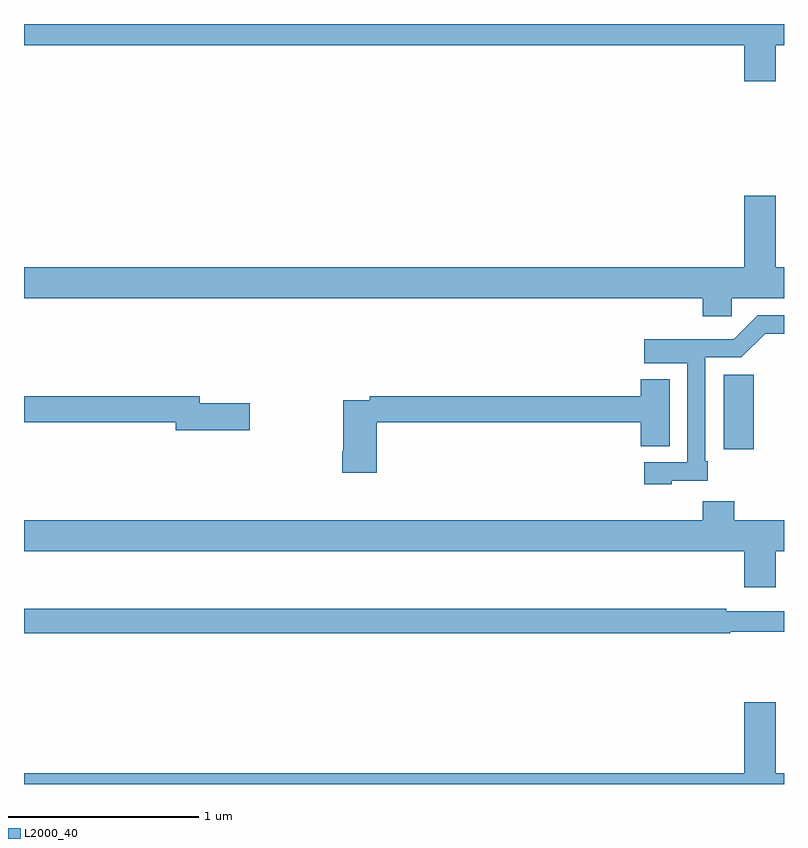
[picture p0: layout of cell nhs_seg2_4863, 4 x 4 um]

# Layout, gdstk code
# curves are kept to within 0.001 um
import gdstk
lib = gdstk.Library(unit=1e-6, precision=1e-09)
def R(c, l, rs):  # rectangles x0, y0, x1, y1
    for r in rs: c.add(gdstk.rectangle(r[:2], r[2:], *l))
def P(c, l, *ps):  # polygons
    for p in ps: c.add(gdstk.Polygon(p, *l))
L2000_40 = (2000, 40)

nhs_seg2_4863 = lib.new_cell('nhs_seg2_4863')
R(nhs_seg2_4863, L2000_40, [(380.684,593.562,380.842,593.953)])
P(nhs_seg2_4863, L2000_40, [(380.956,595.688),(381,595.688),(381,595.8),(377,595.8),(377,595.688),(380.792,595.688),(380.792,595.5),(380.956,595.5)],
  [(380.724,594.356),(381,594.356),(381,594.52),(380.956,594.52),(380.956,594.895),(380.792,594.895),(380.792,594.52),(377,594.52),(377,594.356),(380.573,594.356),(380.573,594.263),(380.724,594.263)],
  [(380.409,593.397),(380.599,593.397),(380.599,593.5),(380.586,593.5),(380.586,594.045),(380.775,594.045),(380.9,594.17),(381,594.17),(381,594.267),(380.861,594.267),(380.735,594.141),(380.265,594.142),(380.265,594.014),(380.49,594.014),(380.49,593.493),(380.265,593.493),(380.265,593.378),(380.409,593.378)],
  [(378.857,593.704),(380.246,593.704),(380.246,593.578),(380.398,593.578),(380.398,593.929),(380.246,593.929),(380.246,593.84),(378.82,593.84),(378.82,593.82),(378.679,593.82),(378.679,593.551),(378.674,593.551),(378.674,593.439),(378.857,593.439)],
  [(378.187,593.804),(377.926,593.804),(377.926,593.84),(377,593.84),(377,593.704),(377.798,593.704),(377.798,593.662),(378.187,593.662)],
  [(380.956,593.024),(381,593.024),(381,593.188),(380.738,593.188),(380.738,593.287),(380.573,593.287),(380.573,593.188),(377,593.188),(377,593.024),(380.792,593.024),(380.792,592.836),(380.956,592.836)],
  [(380.716,592.602),(381,592.602),(381,592.71),(380.696,592.71),(380.696,592.723),(377,592.723),(377,592.594),(380.716,592.594)],
  [(381,591.856),(380.956,591.856),(380.956,592.231),(380.792,592.231),(380.792,591.856),(377,591.856),(377,591.8),(381,591.8)])

lib.write_gds('nhs_seg2_4863.gds')
